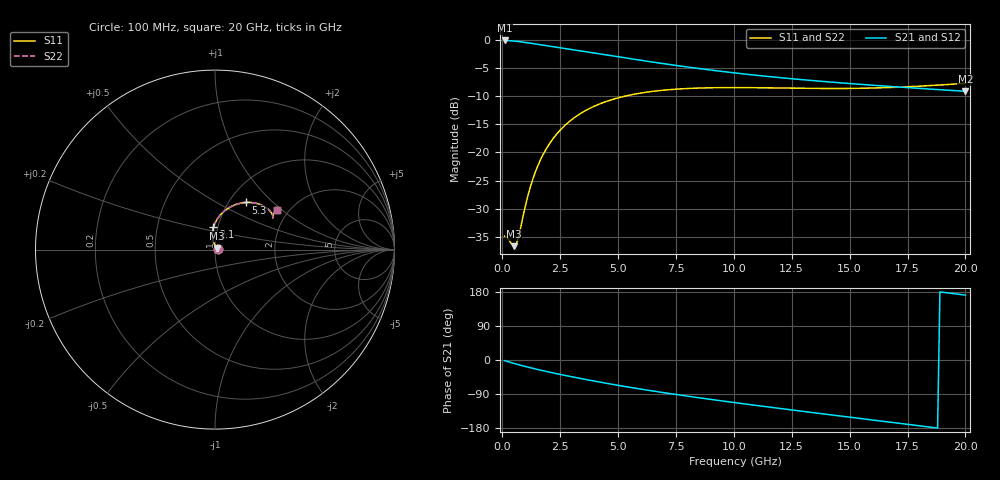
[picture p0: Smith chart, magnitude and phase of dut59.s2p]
! Touchstone file exported from HFSS 2023.1.0
!  File:  D:/Users/fzz/RDL_TSV/temp_RDL_TSV_59_1778746020.aedt
!  Generated:  4:15:51 %x4E0B%x5348  5%x6708 14, 2026
!  Design:  RDL_TSV
!  Project:  temp_RDL_TSV_59_1778746020
!  Setup:  Setup1
!  Solution:  Sweep
! Variables:
!  dtsv = 18.33um
!  hbump = 3um
!  htsv = 53.39um
!  ldown = 128.3um
!  lrdl = 549.52um
!  p = 40
!  p1 = 54.84um
!  rhole = 10um
!  subl = 2582.98um
!  t = 450um
!  tdown = 2.21um
!  trdl = 4.66um
!  viad = 10um
!  wdown = 27.68um
!  wrdl = 10.31um
!  xbump = 18um
# GHz S MA R 50.000000
! Terminal data exported
! Port[1] = TM1_1_T1
! Port[2] = TM1_4_T1
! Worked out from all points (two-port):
!   200 points, 100 MHz to 20 GHz, reference 50 ohm
!   highest |S21| = -0.17 dB at 100 MHz (marker M1); lowest = -9.2 dB at 20 GHz (marker M2)
!   |S21| within 3 dB of the highest: start of sweep to 5.169 GHz
!   lowest |S11| = -36.6 dB at 500 MHz (marker M3), VSWR 1.03, Z = 51.1 + j0.999 ohm
!   |S11| at or under -10 dB: start of sweep to 5.34 GHz
!   |S22| runs from -36.6 to -7.8 dB; largest |S21 - S12| = 9.1e-15
!   S11 on the Smith chart (normalised r, x): 100 MHz: 1.04, +0.00; 2.1 GHz: 0.95, +0.24; 5.3 GHz: 1.20, +0.70; 20 GHz: 1.73, +0.92
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0.1  0.0181 5.2  0.9811 -1.8  0.9811 -1.8  0.0181 5.2
! Gamma 0 0 0 0
! Port Impedance 50 0 50 0
0.2  0.01753 10.8  0.9794 -3.7  0.9794 -3.7  0.01753 10.8
0.5  0.01472 41.6  0.9691 -9.0  0.9691 -9.0  0.01472 41.6
0.6  0.01527 58.6  0.9644 -10.7  0.9644 -10.7  0.01527 58.6
0.7  0.01763 74.8  0.9592 -12.4  0.9592 -12.4  0.01763 74.7
1.1  0.0408 101.4  0.9352 -18.8  0.9352 -18.8  0.04078 101.3
1.4  0.06464 102.4  0.9156 -23.2  0.9156 -23.2  0.0646 102.4
1.7  0.09017 99.6  0.8959 -27.5  0.8959 -27.5  0.09012 99.6
2.1  0.1244 94.1  0.8701 -32.9  0.8701 -32.9  0.1243 94.1
2.7  0.1728 85.4  0.833 -40.6  0.833 -40.6  0.1727 85.4
3.5  0.2286 74.9  0.7858 -50.2  0.7858 -50.2  0.2284 74.9
4.3  0.2734 65.9  0.7407 -59.3  0.7407 -59.3  0.2732 65.9
5.3  0.3149 56.6  0.6879 -70.0  0.6879 -70.0  0.3147 56.5
6.8  0.3528 45.9  0.6178 -84.6  0.6178 -84.6  0.3526 45.8
8.4  0.3708 37.8  0.5561 -98.9  0.5561 -98.9  0.3705 37.8
10.1  0.3749 32.4  0.504 -113.0  0.504 -113.0  0.3746 32.3
11.7  0.3722 29.6  0.4653 -125.6  0.4653 -125.6  0.3719 29.5
13.4  0.3685 28.7  0.4325 -138.7  0.4325 -138.7  0.3681 28.6
15  0.3685 29.3  0.4071 -150.9  0.4071 -150.9  0.3681 29.2
16.7  0.3752 30.7  0.3843 -163.7  0.3843 -163.7  0.3748 30.5
18.3  0.3886 32.0  0.3655 -175.9  0.3655 -175.9  0.388 31.9
20  0.4089 32.9  0.3475 171.3  0.3475 171.3  0.4082 32.8
